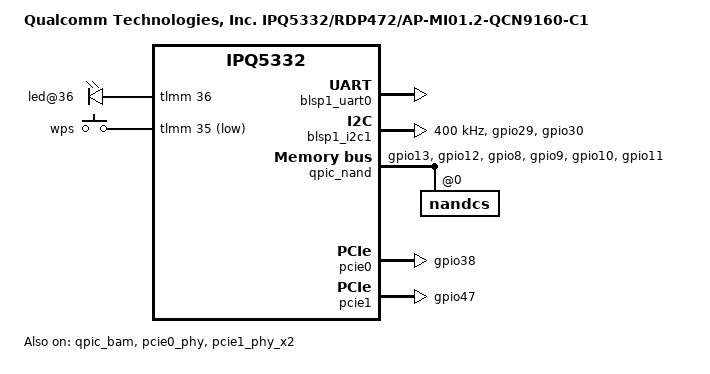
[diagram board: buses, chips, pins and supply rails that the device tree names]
// SPDX-License-Identifier: (GPL-2.0+ OR BSD-3-Clause)
/*
 * IPQ5332 RDP472 board device tree source
 *
 * Copyright (c) 2020-2021 The Linux Foundation. All rights reserved.
 * Copyright (c) 2022-2023 Qualcomm Innovation Center, Inc. All rights reserved.
 */

/dts-v1/;

#include "ipq5332.dtsi"
#include <dt-bindings/gpio/gpio.h>
#include <dt-bindings/input/input.h>

/ {
	model = "Qualcomm Technologies, Inc. IPQ5332/RDP472/AP-MI01.2-QCN9160-C1";
	compatible = "qcom,ipq5332-ap-mi01.2-qcn9160-c1", "qcom,ipq5332-rdp472", "qcom,ipq5332";

	aliases {
		serial0 = &blsp1_uart0;
		serial1 = &blsp1_uart1;
	};

	chosen {
		stdout-path = "serial0";
	};

	soc@0 {
		leds {
			compatible = "gpio-leds";
			pinctrl-0 = <&leds_pins>;
			pinctrl-names = "default";
			led@36 {
				gpios = <&tlmm 36 GPIO_ACTIVE_HIGH>;
				linux,default-trigger = "led_2g";
				default-state = "off";
			};
		};

		gpio_keys {
			compatible = "gpio-keys";
			pinctrl-0 = <&button_pins>;
			pinctrl-names = "default";
			status = "okay";

			button@1 {
				label = "wps";
				linux,code = <KEY_WPS_BUTTON>;
				gpios = <&tlmm 35 GPIO_ACTIVE_LOW>;
				linux,input-type = <1>;
				debounce-interval = <60>;
			};
		};
	};
};

&blsp1_uart0 {
	pinctrl-0 = <&serial_0_pins>;
	pinctrl-names = "default";
	status = "okay";
};

&blsp1_uart1 {
	pinctrl-0 = <&serial_1_pins>;
	pinctrl-names = "default";
	status = "disabled";
};

&sdhc {
	bus-width = <4>;
	max-frequency = <192000000>;
	mmc-ddr-1_8v;
	mmc-hs200-1_8v;
	non-removable;
	pinctrl-0 = <&sdc_default_state>;
	pinctrl-names = "default";
	status = "disabled";
};

&blsp1_i2c1 {
	clock-frequency  = <400000>;
	pinctrl-0 = <&i2c_1_pins>;
	pinctrl-names = "default";
	status = "okay";
};

&sleep_clk {
	clock-frequency = <32000>;
};

&xo_board {
	clock-frequency = <24000000>;
};

&qpic_bam {
	status = "okay";
};

&qpic_nand {
	pinctrl-0 = <&qspi_default_state>;
	pinctrl-names = "default";
	status = "okay";

	nandcs@0 {
		reg = <0>;
		#address-cells = <1>;
		#size-cells = <1>;

		nand-ecc-strength = <8>;
		nand-ecc-step-size = <512>;
		nand-bus-width = <8>;
	};
};

&pcie0_phy {
	status = "okay";
};

&pcie0 {
	pinctrl-0 = <&pcie0_default_state>;
	pinctrl-names = "default";
	perst-gpios = <&tlmm 38 GPIO_ACTIVE_LOW>;
	status = "okay";
};

&pcie1_phy_x2 {
	status = "okay";
};

&pcie1 {
	pinctrl-0 = <&pcie1_default_state>;
	pinctrl-names = "default";
	perst-gpios = <&tlmm 47 GPIO_ACTIVE_LOW>;
	status = "okay";
};

/* PINCTRL */

&tlmm {
	sdc_default_state: sdc-default-state {
		clk-pins {
			pins = "gpio13";
			function = "sdc_clk";
			drive-strength = <8>;
			bias-disable;
		};

		cmd-pins {
			pins = "gpio12";
			function = "sdc_cmd";
			drive-strength = <8>;
			bias-pull-up;
		};

		data-pins {
			pins = "gpio8", "gpio9", "gpio10", "gpio11";
			function = "sdc_data";
			drive-strength = <8>;
			bias-pull-up;
		};
	};

	qspi_default_state: qspi-default-state {
		qspi_clock {
			pins = "gpio13";
			function = "qspi_clk";
			drive-strength = <8>;
			bias-pull-down;
		};

		qspi_cs {
			pins = "gpio12";
			function = "qspi_cs";
			drive-strength = <8>;
			bias-pull-up;
		};

		qspi_data {
			pins = "gpio8", "gpio9", "gpio10", "gpio11";
			function = "qspi_data";
			drive-strength = <8>;
			bias-pull-down;
		};
	};

	serial_1_pins: serial1-pinmux {
		pins = "gpio33", "gpio34", "gpio35", "gpio36";
		function = "blsp1_uart2";
		drive-strength = <8>;
		bias-pull-up;
	};

	i2c_1_pins: i2c-1-state {
		pins = "gpio29", "gpio30";
		function = "blsp1_i2c0";
		drive-strength = <8>;
		bias-pull-up;
	};

	leds_pins: leds-state {
		pins = "gpio36";
		function = "gpio";
		drive-strength = <8>;
		bias-pull-down;
	};

	button_pins: button-state {
		pins = "gpio35";
		function = "gpio";
		drive-strength = <8>;
		bias-pull-up;
	};

	pcie0_default_state: pcie0-default-state {
		pins = "gpio38";
		function = "gpio";
		drive-strength = <8>;
		bias-pull-up;
		output-low;
	};

	pcie1_default_state: pcie1-default-state {
		pins = "gpio47";
		function = "gpio";
		drive-strength = <8>;
		bias-pull-up;
		output-low;
	};

};
